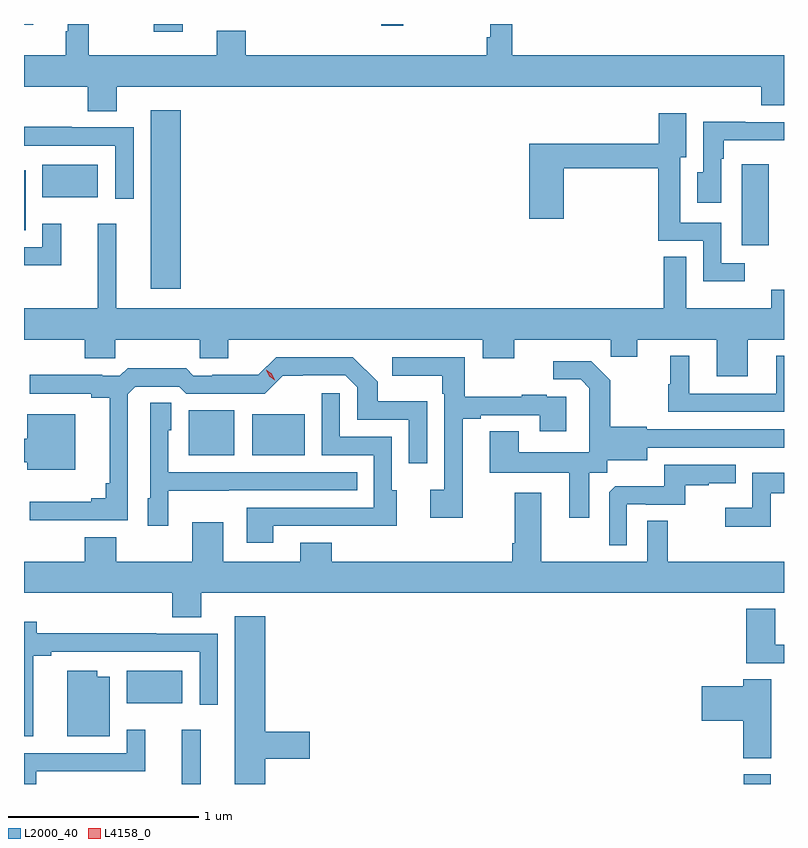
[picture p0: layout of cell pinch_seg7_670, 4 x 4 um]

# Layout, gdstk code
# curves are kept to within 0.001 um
import gdstk
lib = gdstk.Library(unit=1e-6, precision=1e-09)
def R(c, l, rs):  # rectangles x0, y0, x1, y1
    for r in rs: c.add(gdstk.rectangle(r[:2], r[2:], *l))
def P(c, l, *ps):  # polygons
    for p in ps: c.add(gdstk.Polygon(p, *l))
L2000_40 = (2000, 40)
L4158_0 = (4158, 0)

pinch_seg7_670 = lib.new_cell('pinch_seg7_670')
R(pinch_seg7_670, L2000_40, [(275.171,1002.273,275.27,1002.559), (278.129,1002.273,278.269,1002.324), (274.88,1002.698,275.173,1002.868), (275.207,1004.003,275.446,1004.239), (275.54,1004.003,275.818,1004.218), (275.006,1004.88,275.165,1005.82), (278.117,1005.108,278.26,1005.535), (274.34,1005.188,274.348,1005.502), (274.436,1005.362,274.729,1005.532), (275.023,1006.233,275.176,1006.273), (276.22,1006.263,276.336,1006.273), (274.34,1006.269,274.389,1006.273)])
P(pinch_seg7_670, L2000_40, [(274.828,1005.944),(278.219,1005.944),(278.219,1005.845),(278.34,1005.845),(278.34,1006.108),(276.911,1006.108),(276.911,1006.273),(276.795,1006.273),(276.795,1006.204),(276.775,1006.204),(276.775,1006.108),(275.507,1006.108),(275.507,1006.238),(275.354,1006.238),(275.354,1006.108),(274.681,1006.108),(274.681,1006.273),(274.571,1006.273),(274.571,1006.235),(274.56,1006.235),(274.56,1006.108),(274.34,1006.108),(274.34,1005.944),(274.676,1005.944),(274.676,1005.814),(274.828,1005.814)],
  [(278.134,1005.015),(278.01,1005.015),(278.01,1005.228),(277.795,1005.228),(277.795,1005.573),(277.825,1005.573),(277.825,1005.802),(277.682,1005.802),(277.682,1005.643),(276.998,1005.643),(276.998,1005.249),(277.181,1005.249),(277.181,1005.514),(277.677,1005.514),(277.677,1005.132),(277.914,1005.132),(277.914,1004.918),(278.134,1004.918)],
  [(278.01,1005.563),(278.023,1005.563),(278.023,1005.66),(278.34,1005.66),(278.34,1005.756),(278.135,1005.756),(278.135,1005.758),(277.914,1005.758),(277.914,1005.492),(277.883,1005.492),(277.883,1005.333),(278.01,1005.333)],
  [(274.917,1005.729),(274.592,1005.729),(274.592,1005.731),(274.34,1005.731),(274.34,1005.633),(274.821,1005.633),(274.821,1005.354),(274.917,1005.354)],
  [(278.149,1004.612),(278.34,1004.612),(278.34,1004.875),(278.272,1004.875),(278.272,1004.776),(277.825,1004.776),(277.825,1005.047),(277.707,1005.047),(277.707,1004.776),(274.826,1004.776),(274.826,1005.223),(274.727,1005.223),(274.727,1004.776),(274.34,1004.776),(274.34,1004.612),(274.661,1004.612),(274.661,1004.514),(274.821,1004.514),(274.821,1004.612),(275.266,1004.612),(275.266,1004.514),(275.416,1004.514),(275.416,1004.612),(276.755,1004.612),(276.755,1004.513),(276.919,1004.513),(276.919,1004.612),(277.429,1004.612),(277.429,1004.522),(277.567,1004.522),(277.567,1004.612),(277.985,1004.612),(277.985,1004.418),(278.149,1004.418)],
  [(274.535,1005.223),(274.437,1005.223),(274.437,1005.099),(274.34,1005.099),(274.34,1005.003),(274.535,1005.003)],
  [(278.34,1004.527),(278.3,1004.527),(278.3,1004.328),(277.84,1004.328),(277.84,1004.527),(277.742,1004.527),(277.742,1004.376),(277.731,1004.376),(277.731,1004.232),(278.34,1004.232)],
  [(274.887,1004.325),(274.926,1004.364),(275.157,1004.364),(275.193,1004.328),(275.607,1004.328),(275.702,1004.423),(276.03,1004.424),(276.093,1004.361),(276.093,1004.19),(276.366,1004.19),(276.366,1003.962),(276.462,1003.962),(276.462,1004.287),(276.201,1004.287),(276.201,1004.39),(276.07,1004.52),(275.667,1004.52),(275.573,1004.426),(275.332,1004.426),(275.332,1004.421),(275.232,1004.421),(275.193,1004.461),(274.885,1004.461),(274.845,1004.421),(274.751,1004.421),(274.751,1004.426),(274.371,1004.426),(274.371,1004.328),(274.694,1004.328),(274.694,1004.306),(274.79,1004.306),(274.79,1003.855),(274.771,1003.855),(274.771,1003.778),(274.694,1003.778),(274.694,1003.759),(274.371,1003.759),(274.371,1003.662),(274.887,1003.662)],
  [(276.649,1004.196),(276.745,1004.196),(276.745,1004.214),(277.055,1004.214),(277.055,1004.13),(277.195,1004.13),(277.195,1004.31),(277.091,1004.31),(277.091,1004.323),(276.959,1004.323),(276.959,1004.312),(276.661,1004.312),(276.661,1004.52),(276.279,1004.52),(276.279,1004.423),(276.54,1004.423),(276.54,1004.327),(276.552,1004.327),(276.552,1003.822),(276.477,1003.822),(276.477,1003.674),(276.649,1003.674)],
  [(277.315,1003.912),(277.41,1003.912),(277.41,1003.976),(277.621,1003.976),(277.621,1004.043),(278.34,1004.042),(278.34,1004.139),(277.617,1004.139),(277.617,1004.152),(277.425,1004.152),(277.425,1004.397),(277.325,1004.497),(277.125,1004.497),(277.125,1004.403),(277.269,1004.403),(277.316,1004.356),(277.316,1004.261),(277.314,1004.261),(277.314,1004.02),(276.943,1004.02),(276.943,1004.129),(276.791,1004.129),(276.791,1003.91),(277.211,1003.91),(277.211,1003.674),(277.315,1003.674)],
  [(275.653,1003.632),(276.083,1003.632),(276.083,1003.631),(276.301,1003.631),(276.301,1003.818),(276.276,1003.818),(276.276,1004.1),(276.003,1004.1),(276.003,1004.329),(275.907,1004.329),(275.907,1004.004),(276.18,1004.004),(276.18,1003.728),(275.513,1003.728),(275.513,1003.542),(275.653,1003.542)],
  [(275.1,1003.817),(275.417,1003.817),(275.417,1003.818),(276.095,1003.818),(276.095,1003.914),(275.1,1003.914),(275.1,1004.136),(275.116,1004.136),(275.116,1004.279),(275.004,1004.279),(275.004,1003.776),(274.991,1003.776),(274.991,1003.632),(275.1,1003.632)],
  [(274.609,1004.218),(274.358,1004.218),(274.358,1004.089),(274.34,1004.089),(274.34,1003.967),(274.358,1003.967),(274.358,1003.928),(274.609,1003.928)],
  [(277.512,1003.746),(277.612,1003.746),(277.612,1003.743),(277.82,1003.743),(277.82,1003.845),(277.943,1003.845),(277.943,1003.856),(278.087,1003.856),(278.087,1003.953),(277.71,1003.953),(277.71,1003.841),(277.451,1003.841),(277.419,1003.809),(277.419,1003.529),(277.512,1003.529)],
  [(278.271,1003.803),(278.34,1003.803),(278.34,1003.911),(278.172,1003.911),(278.172,1003.726),(278.031,1003.726),(278.031,1003.628),(278.271,1003.628)],
  [(275.272,1003.28),(278.34,1003.28),(278.34,1003.444),(277.729,1003.444),(277.729,1003.658),(277.62,1003.658),(277.62,1003.444),(277.063,1003.444),(277.063,1003.807),(276.923,1003.807),(276.923,1003.54),(276.911,1003.54),(276.911,1003.444),(275.959,1003.444),(275.959,1003.543),(275.795,1003.543),(275.795,1003.444),(275.389,1003.444),(275.389,1003.651),(275.225,1003.651),(275.225,1003.444),(274.825,1003.444),(274.825,1003.573),(274.661,1003.573),(274.661,1003.444),(274.34,1003.444),(274.34,1003.28),(275.12,1003.28),(275.12,1003.15),(275.272,1003.15)],
  [(278.34,1003.005),(278.293,1003.005),(278.293,1003.195),(278.141,1003.195),(278.141,1002.909),(278.34,1002.909)],
  [(275.609,1002.406),(275.845,1002.406),(275.845,1002.548),(275.609,1002.548),(275.609,1003.156),(275.45,1003.156),(275.45,1002.273),(275.609,1002.273)],
  [(274.388,1002.949),(274.483,1002.949),(274.483,1002.969),(275.265,1002.969),(275.265,1002.69),(275.361,1002.69),(275.361,1003.065),(275.036,1003.065),(275.036,1003.067),(274.406,1003.067),(274.406,1003.126),(274.34,1003.126),(274.34,1002.525),(274.388,1002.525)],
  [(274.792,1002.838),(274.726,1002.838),(274.726,1002.868),(274.568,1002.868),(274.568,1002.524),(274.792,1002.524)],
  [(278.272,1002.824),(278.126,1002.824),(278.126,1002.788),(277.908,1002.788),(277.908,1002.605),(278.126,1002.605),(278.126,1002.409),(278.272,1002.409)],
  [(274.405,1002.339),(274.979,1002.339),(274.979,1002.559),(274.881,1002.559),(274.881,1002.435),(274.34,1002.435),(274.34,1002.273),(274.405,1002.273)])
P(pinch_seg7_670, L4158_0, [(275.661,1004.398),(275.63,1004.419),(275.614,1004.453),(275.614,1004.453),(275.614,1004.453),(275.645,1004.432),(275.661,1004.399),(275.661,1004.398)])

lib.write_gds('pinch_seg7_670.gds')
